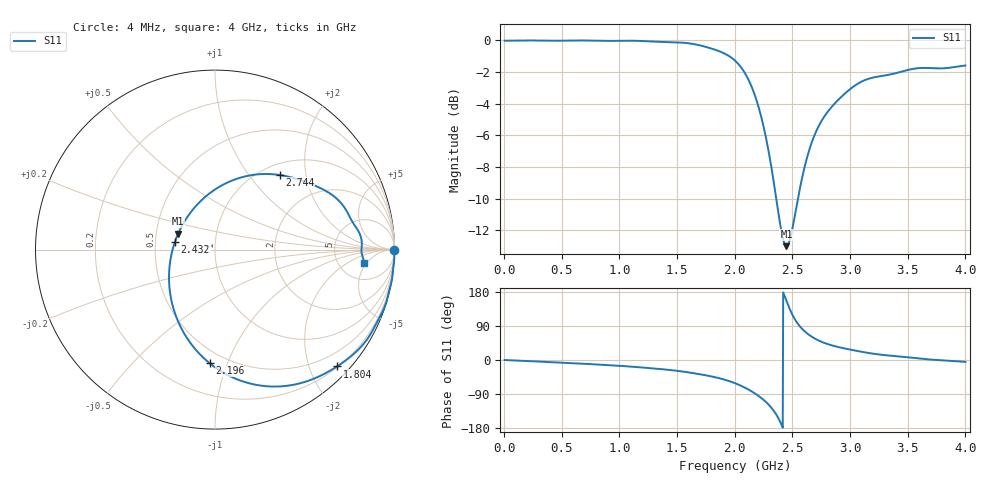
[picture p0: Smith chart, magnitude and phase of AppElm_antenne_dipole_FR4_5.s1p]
! TOUCHSTONE file generated by CST MICROWAVE STUDIO
! Date and time: Thu May 12 14:30:01 2022
! Project name: AppElm_antenne_dipole_FR4.cst
! Parameters = {L=38.8; e=0.035; f=2.45e+09; h=1.6; i=0.76; l1=4; lambda=122.449; ls=30; wl=1.7; ws=80}
! Header version: 2018
! Port assignment regex: !\s*Touchstone port\s*([0-9]+)\s*=\s*(CST MWS port|CST DS port)\s*([0-9]+|Zmin|Zmax)\s*\(\"(.*)\"\)(\s*mode\s*([0-9]+))?.*
! Touchstone port assignment:
! Touchstone port 1 = CST MWS port 1 ("")
# GHz S MA R 50
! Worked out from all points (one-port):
!   1000 points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, 4 MHz to 4 GHz, reference 50 ohm
!   lowest |S11| = -13.0 dB at 2.448 GHz (marker M1), VSWR 1.58, Z = 32.5 + j6.09 ohm
!   |S11| at or under -10 dB: 2.36 GHz to 2.548 GHz (188.3 MHz wide, 7.67 % of centre)
!   S11 on the Smith chart (normalised r, x): 4 MHz: open; 1.804 GHz: 0.22, -2.47; 2.196 GHz: 0.41, -0.87; 2.432 GHz: 0.63, +0.06; 2.744 GHz: 1.20, +1.43; 4 GHz: 8.85, -4.31
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0.004  0.9981 -0.1
0.504  0.9982 -7.0
1.004  0.9974 -15.4
1.232  0.9946 -20.7
1.504  0.9861 -28.7
1.656  0.9722 -35.4
1.804  0.9412 -43.7
1.912  0.9087 -51.9
2.004  0.8622 -61.4
2.108  0.7653 -76.1
2.196  0.6344 -92.6
2.264  0.506 -109.1
2.32  0.3922 -126.9
2.376  0.2885 -152.5
2.432  0.2274 169.3
2.448  0.2237 156.6
2.472  0.2307 138.1
2.504  0.2588 116.8
2.556  0.3278 91.9
2.612  0.4069 74.0
2.672  0.481 60.6
2.744  0.55 49.1
2.852  0.6234 37.7
3.004  0.7035 27.3
3.18  0.7602 17.5
3.504  0.8073 7.1
3.7  0.8177 1.1
4  0.833 -5.1
